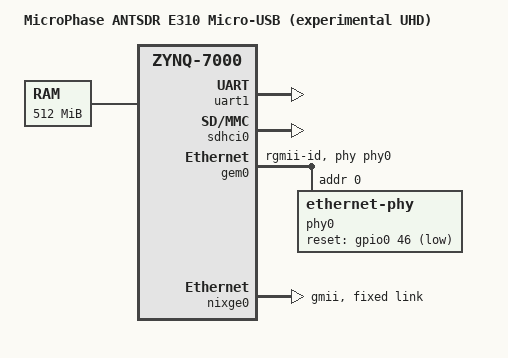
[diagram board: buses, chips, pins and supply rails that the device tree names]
// SPDX-License-Identifier: (GPL-2.0 OR X11)
// ANTSDR E310 Micro-USB bring-up target, not Ettus E310 or ANTSDR E310V2.
/dts-v1/;
#include <dt-bindings/gpio/gpio.h>
#include "zynq-7000.dtsi"
/ {
    model = "MicroPhase ANTSDR E310 Micro-USB (experimental UHD)";
    compatible = "microphase,antsdr-e310", "xlnx,zynq-7000";
    aliases { serial0 = &uart1; ethernet0 = &gem0; ethernet1 = &nixge0; };
    chosen { stdout-path = "serial0:115200n8"; };
    // Upper 512 MiB is used exclusively by the FPGA TX deep FIFO.
    memory@0 { device_type = "memory"; reg = <0 0x20000000>; };
};
&uart1 { status = "okay"; };
&sdhci0 { status = "okay"; };
&gpio0 { status = "okay"; };
&clkc { ps-clk-frequency = <33333333>; fclk-enable = <1>; };
&gem0 {
    status = "okay";
    phy-mode = "rgmii-id";
    // Verify address against the board's MDIO scan before deploying this DTB.
    phy-handle = <&phy0>;
    phy0: ethernet-phy@0 {
        reg = <0>;
        reset-gpios = <&gpio0 46 GPIO_ACTIVE_LOW>;
        reset-assert-us = <10000>;
        reset-deassert-us = <10000>;
    };
};
&fpga_full {
    nixge0: ethernet@40000000 {
        compatible = "ni,xge-enet-2.00";
        reg = <0x40000000 0x8000>;
        clocks = <&clkc 15>;
        clock-names = "bus_clk";
        interrupts = <0 29 4>, <0 30 4>;
        interrupt-names = "rx", "tx";
        interrupt-parent = <&intc>;
        phy-mode = "gmii";
        status = "okay";
        fixed-link { speed = <1000>; full-duplex; };
    };
};
